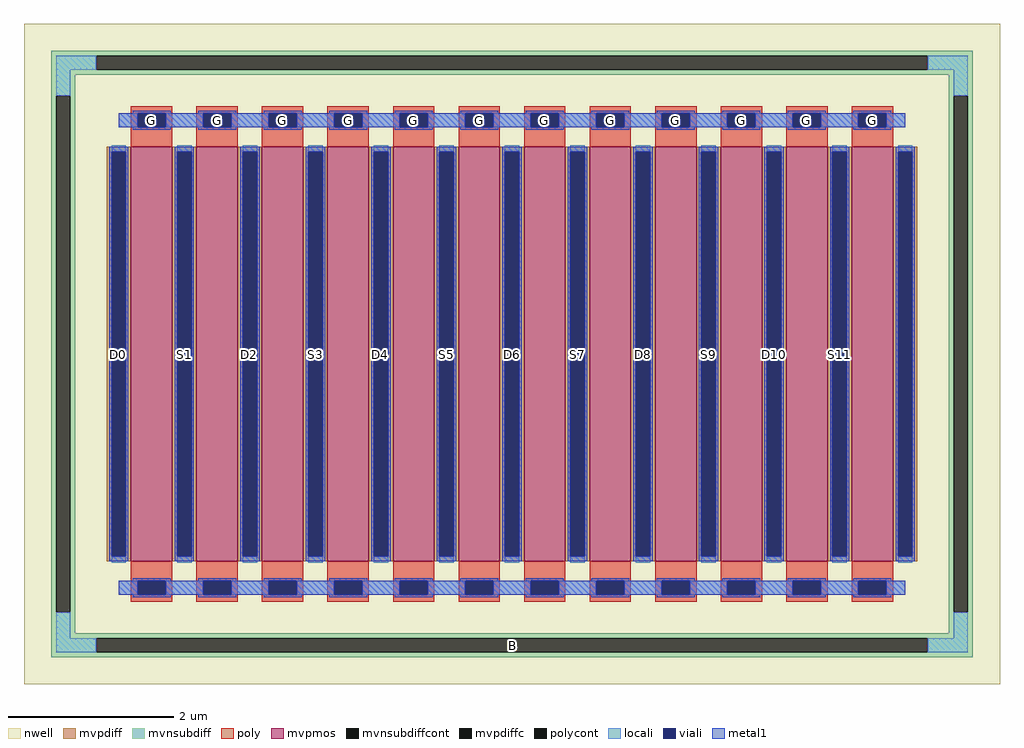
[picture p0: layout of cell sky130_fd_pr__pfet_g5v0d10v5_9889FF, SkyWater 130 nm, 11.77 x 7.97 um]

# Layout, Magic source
magic
tech sky130A
magscale 1 2
<< nwell >>
rect -1177 -797 1177 797
<< mvpmos >>
rect -919 -500 -819 500
rect -761 -500 -661 500
rect -603 -500 -503 500
rect -445 -500 -345 500
rect -287 -500 -187 500
rect -129 -500 -29 500
rect 29 -500 129 500
rect 187 -500 287 500
rect 345 -500 445 500
rect 503 -500 603 500
rect 661 -500 761 500
rect 819 -500 919 500
<< mvpdiff >>
rect -977 488 -919 500
rect -977 -488 -965 488
rect -931 -488 -919 488
rect -977 -500 -919 -488
rect -819 488 -761 500
rect -819 -488 -807 488
rect -773 -488 -761 488
rect -819 -500 -761 -488
rect -661 488 -603 500
rect -661 -488 -649 488
rect -615 -488 -603 488
rect -661 -500 -603 -488
rect -503 488 -445 500
rect -503 -488 -491 488
rect -457 -488 -445 488
rect -503 -500 -445 -488
rect -345 488 -287 500
rect -345 -488 -333 488
rect -299 -488 -287 488
rect -345 -500 -287 -488
rect -187 488 -129 500
rect -187 -488 -175 488
rect -141 -488 -129 488
rect -187 -500 -129 -488
rect -29 488 29 500
rect -29 -488 -17 488
rect 17 -488 29 488
rect -29 -500 29 -488
rect 129 488 187 500
rect 129 -488 141 488
rect 175 -488 187 488
rect 129 -500 187 -488
rect 287 488 345 500
rect 287 -488 299 488
rect 333 -488 345 488
rect 287 -500 345 -488
rect 445 488 503 500
rect 445 -488 457 488
rect 491 -488 503 488
rect 445 -500 503 -488
rect 603 488 661 500
rect 603 -488 615 488
rect 649 -488 661 488
rect 603 -500 661 -488
rect 761 488 819 500
rect 761 -488 773 488
rect 807 -488 819 488
rect 761 -500 819 -488
rect 919 488 977 500
rect 919 -488 931 488
rect 965 -488 977 488
rect 919 -500 977 -488
<< mvpdiffc >>
rect -965 -488 -931 488
rect -807 -488 -773 488
rect -649 -488 -615 488
rect -491 -488 -457 488
rect -333 -488 -299 488
rect -175 -488 -141 488
rect -17 -488 17 488
rect 141 -488 175 488
rect 299 -488 333 488
rect 457 -488 491 488
rect 615 -488 649 488
rect 773 -488 807 488
rect 931 -488 965 488
<< mvnsubdiff >>
rect -1111 719 1111 731
rect -1111 685 -1003 719
rect 1003 685 1111 719
rect -1111 673 1111 685
rect -1111 623 -1053 673
rect -1111 -623 -1099 623
rect -1065 -623 -1053 623
rect 1053 623 1111 673
rect -1111 -673 -1053 -623
rect 1053 -623 1065 623
rect 1099 -623 1111 623
rect 1053 -673 1111 -623
rect -1111 -685 1111 -673
rect -1111 -719 -1003 -685
rect 1003 -719 1111 -685
rect -1111 -731 1111 -719
<< mvnsubdiffcont >>
rect -1003 685 1003 719
rect -1099 -623 -1065 623
rect 1065 -623 1099 623
rect -1003 -719 1003 -685
<< poly >>
rect -919 581 -819 597
rect -919 547 -903 581
rect -835 547 -819 581
rect -919 500 -819 547
rect -761 581 -661 597
rect -761 547 -745 581
rect -677 547 -661 581
rect -761 500 -661 547
rect -603 581 -503 597
rect -603 547 -587 581
rect -519 547 -503 581
rect -603 500 -503 547
rect -445 581 -345 597
rect -445 547 -429 581
rect -361 547 -345 581
rect -445 500 -345 547
rect -287 581 -187 597
rect -287 547 -271 581
rect -203 547 -187 581
rect -287 500 -187 547
rect -129 581 -29 597
rect -129 547 -113 581
rect -45 547 -29 581
rect -129 500 -29 547
rect 29 581 129 597
rect 29 547 45 581
rect 113 547 129 581
rect 29 500 129 547
rect 187 581 287 597
rect 187 547 203 581
rect 271 547 287 581
rect 187 500 287 547
rect 345 581 445 597
rect 345 547 361 581
rect 429 547 445 581
rect 345 500 445 547
rect 503 581 603 597
rect 503 547 519 581
rect 587 547 603 581
rect 503 500 603 547
rect 661 581 761 597
rect 661 547 677 581
rect 745 547 761 581
rect 661 500 761 547
rect 819 581 919 597
rect 819 547 835 581
rect 903 547 919 581
rect 819 500 919 547
rect -919 -547 -819 -500
rect -919 -581 -903 -547
rect -835 -581 -819 -547
rect -919 -597 -819 -581
rect -761 -547 -661 -500
rect -761 -581 -745 -547
rect -677 -581 -661 -547
rect -761 -597 -661 -581
rect -603 -547 -503 -500
rect -603 -581 -587 -547
rect -519 -581 -503 -547
rect -603 -597 -503 -581
rect -445 -547 -345 -500
rect -445 -581 -429 -547
rect -361 -581 -345 -547
rect -445 -597 -345 -581
rect -287 -547 -187 -500
rect -287 -581 -271 -547
rect -203 -581 -187 -547
rect -287 -597 -187 -581
rect -129 -547 -29 -500
rect -129 -581 -113 -547
rect -45 -581 -29 -547
rect -129 -597 -29 -581
rect 29 -547 129 -500
rect 29 -581 45 -547
rect 113 -581 129 -547
rect 29 -597 129 -581
rect 187 -547 287 -500
rect 187 -581 203 -547
rect 271 -581 287 -547
rect 187 -597 287 -581
rect 345 -547 445 -500
rect 345 -581 361 -547
rect 429 -581 445 -547
rect 345 -597 445 -581
rect 503 -547 603 -500
rect 503 -581 519 -547
rect 587 -581 603 -547
rect 503 -597 603 -581
rect 661 -547 761 -500
rect 661 -581 677 -547
rect 745 -581 761 -547
rect 661 -597 761 -581
rect 819 -547 919 -500
rect 819 -581 835 -547
rect 903 -581 919 -547
rect 819 -597 919 -581
<< polycont >>
rect -903 547 -835 581
rect -745 547 -677 581
rect -587 547 -519 581
rect -429 547 -361 581
rect -271 547 -203 581
rect -113 547 -45 581
rect 45 547 113 581
rect 203 547 271 581
rect 361 547 429 581
rect 519 547 587 581
rect 677 547 745 581
rect 835 547 903 581
rect -903 -581 -835 -547
rect -745 -581 -677 -547
rect -587 -581 -519 -547
rect -429 -581 -361 -547
rect -271 -581 -203 -547
rect -113 -581 -45 -547
rect 45 -581 113 -547
rect 203 -581 271 -547
rect 361 -581 429 -547
rect 519 -581 587 -547
rect 677 -581 745 -547
rect 835 -581 903 -547
<< locali >>
rect -1099 685 -1003 719
rect 1003 685 1099 719
rect -1099 623 -1065 685
rect 1065 623 1099 685
rect -948 547 -903 581
rect -835 547 -745 581
rect -677 547 -587 581
rect -519 547 -429 581
rect -361 547 -271 581
rect -203 547 -113 581
rect -45 547 45 581
rect 113 547 203 581
rect 271 547 361 581
rect 429 547 519 581
rect 587 547 677 581
rect 745 547 835 581
rect 903 547 948 581
rect -965 488 -931 504
rect -965 -504 -931 -488
rect -807 488 -773 504
rect -807 -504 -773 -488
rect -649 488 -615 504
rect -649 -504 -615 -488
rect -491 488 -457 504
rect -491 -504 -457 -488
rect -333 488 -299 504
rect -333 -504 -299 -488
rect -175 488 -141 504
rect -175 -504 -141 -488
rect -17 488 17 504
rect -17 -504 17 -488
rect 141 488 175 504
rect 141 -504 175 -488
rect 299 488 333 504
rect 299 -504 333 -488
rect 457 488 491 504
rect 457 -504 491 -488
rect 615 488 649 504
rect 615 -504 649 -488
rect 773 488 807 504
rect 773 -504 807 -488
rect 931 488 965 504
rect 931 -504 965 -488
rect -948 -581 -903 -547
rect -835 -581 -745 -547
rect -677 -581 -587 -547
rect -519 -581 -429 -547
rect -361 -581 -271 -547
rect -203 -581 -113 -547
rect -45 -581 45 -547
rect 113 -581 203 -547
rect 271 -581 361 -547
rect 429 -581 519 -547
rect 587 -581 677 -547
rect 745 -581 835 -547
rect 903 -581 948 -547
rect -1099 -685 -1065 -623
rect 1065 -685 1099 -623
rect -1099 -719 -1003 -685
rect 1003 -719 1099 -685
<< viali >>
rect -903 547 -835 581
rect -745 547 -677 581
rect -587 547 -519 581
rect -429 547 -361 581
rect -271 547 -203 581
rect -113 547 -45 581
rect 45 547 113 581
rect 203 547 271 581
rect 361 547 429 581
rect 519 547 587 581
rect 677 547 745 581
rect 835 547 903 581
rect -965 -488 -931 488
rect -807 -488 -773 488
rect -649 -488 -615 488
rect -491 -488 -457 488
rect -333 -488 -299 488
rect -175 -488 -141 488
rect -17 -488 17 488
rect 141 -488 175 488
rect 299 -488 333 488
rect 457 -488 491 488
rect 615 -488 649 488
rect 773 -488 807 488
rect 931 -488 965 488
rect -903 -581 -835 -547
rect -745 -581 -677 -547
rect -587 -581 -519 -547
rect -429 -581 -361 -547
rect -271 -581 -203 -547
rect -113 -581 -45 -547
rect 45 -581 113 -547
rect 203 -581 271 -547
rect 361 -581 429 -547
rect 519 -581 587 -547
rect 677 -581 745 -547
rect 835 -581 903 -547
<< metal1 >>
rect -915 581 -823 587
rect -757 581 -665 587
rect -599 581 -507 587
rect -441 581 -349 587
rect -283 581 -191 587
rect -125 581 -33 587
rect 33 581 125 587
rect 191 581 283 587
rect 349 581 441 587
rect 507 581 599 587
rect 665 581 757 587
rect 823 581 915 587
rect -948 547 -903 581
rect -835 547 -745 581
rect -677 547 -587 581
rect -519 547 -429 581
rect -361 547 -271 581
rect -203 547 -113 581
rect -45 547 45 581
rect 113 547 203 581
rect 271 547 361 581
rect 429 547 519 581
rect 587 547 677 581
rect 745 547 835 581
rect 903 547 948 581
rect -915 541 -823 547
rect -757 541 -665 547
rect -599 541 -507 547
rect -441 541 -349 547
rect -283 541 -191 547
rect -125 541 -33 547
rect 33 541 125 547
rect 191 541 283 547
rect 349 541 441 547
rect 507 541 599 547
rect 665 541 757 547
rect 823 541 915 547
rect -971 488 -925 500
rect -971 -488 -965 488
rect -931 -488 -925 488
rect -971 -500 -925 -488
rect -813 488 -767 500
rect -813 -488 -807 488
rect -773 -488 -767 488
rect -813 -500 -767 -488
rect -655 488 -609 500
rect -655 -488 -649 488
rect -615 -488 -609 488
rect -655 -500 -609 -488
rect -497 488 -451 500
rect -497 -488 -491 488
rect -457 -488 -451 488
rect -497 -500 -451 -488
rect -339 488 -293 500
rect -339 -488 -333 488
rect -299 -488 -293 488
rect -339 -500 -293 -488
rect -181 488 -135 500
rect -181 -488 -175 488
rect -141 -488 -135 488
rect -181 -500 -135 -488
rect -23 488 23 500
rect -23 -488 -17 488
rect 17 -488 23 488
rect -23 -500 23 -488
rect 135 488 181 500
rect 135 -488 141 488
rect 175 -488 181 488
rect 135 -500 181 -488
rect 293 488 339 500
rect 293 -488 299 488
rect 333 -488 339 488
rect 293 -500 339 -488
rect 451 488 497 500
rect 451 -488 457 488
rect 491 -488 497 488
rect 451 -500 497 -488
rect 609 488 655 500
rect 609 -488 615 488
rect 649 -488 655 488
rect 609 -500 655 -488
rect 767 488 813 500
rect 767 -488 773 488
rect 807 -488 813 488
rect 767 -500 813 -488
rect 925 488 971 500
rect 925 -488 931 488
rect 965 -488 971 488
rect 925 -500 971 -488
rect -915 -547 -823 -541
rect -757 -547 -665 -541
rect -599 -547 -507 -541
rect -441 -547 -349 -541
rect -283 -547 -191 -541
rect -125 -547 -33 -541
rect 33 -547 125 -541
rect 191 -547 283 -541
rect 349 -547 441 -541
rect 507 -547 599 -541
rect 665 -547 757 -541
rect 823 -547 915 -541
rect -948 -581 -903 -547
rect -835 -581 -745 -547
rect -677 -581 -587 -547
rect -519 -581 -429 -547
rect -361 -581 -271 -547
rect -203 -581 -113 -547
rect -45 -581 45 -547
rect 113 -581 203 -547
rect 271 -581 361 -547
rect 429 -581 519 -547
rect 587 -581 677 -547
rect 745 -581 835 -547
rect 903 -581 948 -547
rect -915 -587 -823 -581
rect -757 -587 -665 -581
rect -599 -587 -507 -581
rect -441 -587 -349 -581
rect -283 -587 -191 -581
rect -125 -587 -33 -581
rect 33 -587 125 -581
rect 191 -587 283 -581
rect 349 -587 441 -581
rect 507 -587 599 -581
rect 665 -587 757 -581
rect 823 -587 915 -581
<< labels >>
rlabel mvnsubdiffcont 0 -702 0 -702 0 B
port 15 nsew
rlabel mvpdiffc -948 0 -948 0 0 D0
port 16 nsew
rlabel polycont -869 564 -869 564 0 G
port 3 nsew
rlabel mvpdiffc -790 0 -790 0 0 S1
port 17 nsew
rlabel polycont -711 564 -711 564 0 G
port 3 nsew
rlabel mvpdiffc -632 0 -632 0 0 D2
port 18 nsew
rlabel polycont -553 564 -553 564 0 G
port 3 nsew
rlabel mvpdiffc -474 0 -474 0 0 S3
port 19 nsew
rlabel polycont -395 564 -395 564 0 G
port 3 nsew
rlabel mvpdiffc -316 0 -316 0 0 D4
port 20 nsew
rlabel polycont -237 564 -237 564 0 G
port 3 nsew
rlabel mvpdiffc -158 0 -158 0 0 S5
port 21 nsew
rlabel polycont -79 564 -79 564 0 G
port 3 nsew
rlabel mvpdiffc 0 0 0 0 0 D6
port 22 nsew
rlabel polycont 79 564 79 564 0 G
port 3 nsew
rlabel mvpdiffc 158 0 158 0 0 S7
port 23 nsew
rlabel polycont 237 564 237 564 0 G
port 3 nsew
rlabel mvpdiffc 316 0 316 0 0 D8
port 24 nsew
rlabel polycont 395 564 395 564 0 G
port 3 nsew
rlabel mvpdiffc 474 0 474 0 0 S9
port 25 nsew
rlabel polycont 553 564 553 564 0 G
port 3 nsew
rlabel mvpdiffc 632 0 632 0 0 D10
port 26 nsew
rlabel polycont 711 564 711 564 0 G
port 3 nsew
rlabel mvpdiffc 790 0 790 0 0 S11
port 27 nsew
rlabel polycont 869 564 869 564 0 G
port 3 nsew
<< properties >>
string FIXED_BBOX -1082 -702 1082 702
string gencell sky130_fd_pr__pfet_g5v0d10v5
string library sky130
string parameters w 5 l 0.5 m 1 nf 12 diffcov 100 polycov 100 guard 1 glc 1 grc 1 gtc 1 gbc 1 tbcov 100 rlcov 100 topc 1 botc 1 poverlap 0 doverlap 1 lmin 0.50 wmin 0.42 class mosfet compatible {sky130_fd_pr__pfet_01v8  sky130_fd_pr__pfet_01v8_lvt sky130_fd_pr__pfet_01v8_hvt  sky130_fd_pr__pfet_g5v0d10v5} full_metal 1 conn_gates 1 viasrc 100 viadrn 100 viagate 100 viagb 0 viagr 0 viagl 0 viagt 0 doports 1
<< end >>
